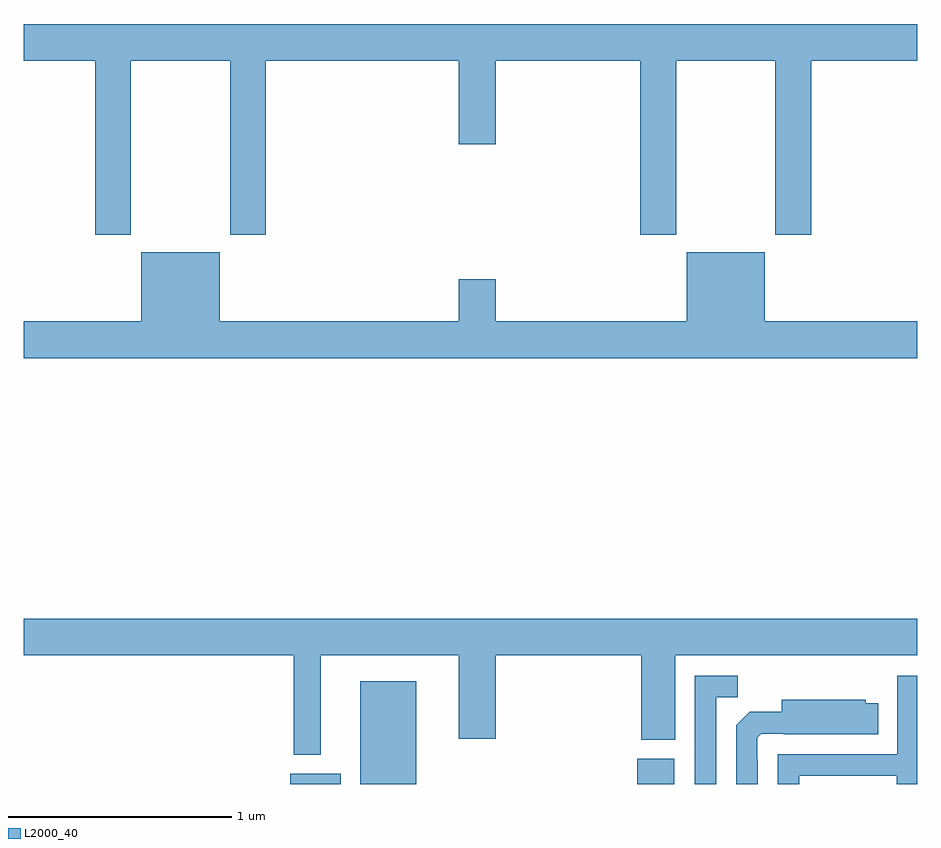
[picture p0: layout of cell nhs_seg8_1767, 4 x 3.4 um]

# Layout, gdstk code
import gdstk
lib = gdstk.Library(unit=1e-6, precision=1e-09)
def R(c, l, rs):  # rectangles x0, y0, x1, y1
    for r in rs: c.add(gdstk.rectangle(r[:2], r[2:], *l))
def P(c, l, *ps):  # polygons
    for p in ps: c.add(gdstk.Polygon(p, *l))
L2000_40 = (2000, 40)

nhs_seg8_1767 = lib.new_cell('nhs_seg8_1767')
R(nhs_seg8_1767, L2000_40, [(224.192,1139.9,224.419,1139.947), (224.507,1139.9,224.758,1140.361), (225.746,1139.9,225.913,1140.013)])
P(nhs_seg8_1767, L2000_40, [(223.479,1143.14),(223.924,1143.14),(223.924,1142.361),(224.084,1142.361),(224.084,1143.14),(224.948,1143.14),(224.948,1142.766),(225.112,1142.766),(225.112,1143.14),(225.761,1143.14),(225.761,1142.361),(225.921,1142.361),(225.921,1143.14),(226.366,1143.14),(226.366,1142.361),(226.526,1142.361),(226.526,1143.14),(227,1143.14),(227,1143.304),(223,1143.304),(223,1143.14),(223.319,1143.14),(223.319,1142.361),(223.479,1142.361)],
  [(227,1141.972),(226.318,1141.972),(226.318,1142.281),(225.968,1142.281),(225.968,1141.972),(225.112,1141.972),(225.112,1142.161),(224.948,1142.161),(224.948,1141.972),(223.876,1141.972),(223.876,1142.281),(223.526,1142.281),(223.526,1141.972),(223,1141.972),(223,1141.808),(227,1141.808)],
  [(224.329,1140.476),(224.948,1140.476),(224.948,1140.102),(225.112,1140.102),(225.112,1140.476),(225.764,1140.476),(225.764,1140.098),(225.916,1140.098),(225.916,1140.476),(227,1140.476),(227,1140.64),(223,1140.64),(223,1140.476),(224.208,1140.476),(224.208,1140.032),(224.329,1140.032)],
  [(226.101,1140.289),(226.197,1140.289),(226.197,1140.384),(226.005,1140.384),(226.005,1139.9),(226.101,1139.9)],
  [(226.473,1139.937),(226.909,1139.937),(226.909,1139.9),(227,1139.9),(227,1140.384),(226.911,1140.384),(226.911,1140.033),(226.377,1140.033),(226.377,1139.9),(226.473,1139.9)],
  [(226.287,1140.008),(226.284,1140.008),(226.284,1140.108),(226.302,1140.126),(226.402,1140.126),(226.402,1140.122),(226.826,1140.122),(226.826,1140.262),(226.77,1140.262),(226.77,1140.277),(226.394,1140.277),(226.394,1140.223),(226.25,1140.223),(226.191,1140.164),(226.191,1139.9),(226.287,1139.9)])

lib.write_gds('nhs_seg8_1767.gds')
